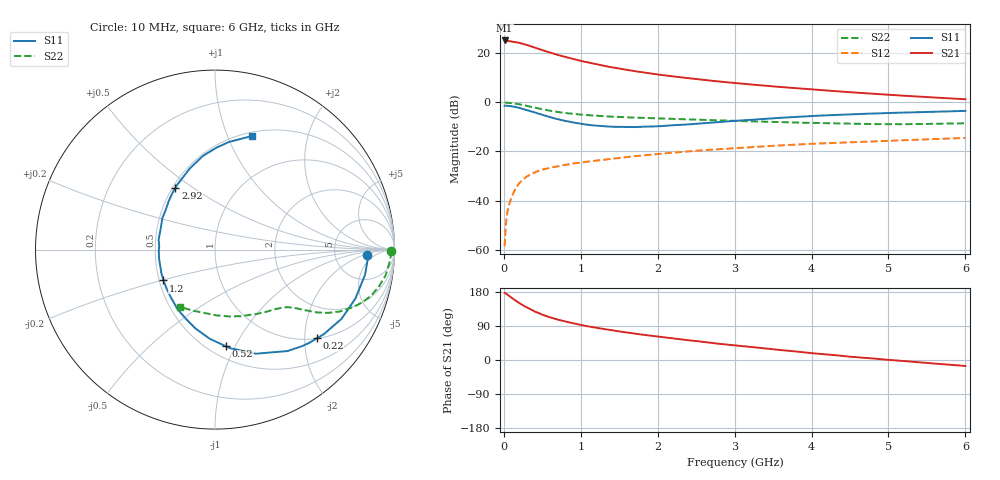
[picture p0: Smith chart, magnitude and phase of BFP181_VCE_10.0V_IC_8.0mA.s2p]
! Infineon Technologies  Discrete & RF Semiconductors
! BFP181
! VCE = 10.0V,  IC =  8.0 mA
! Common Emitter S-Parameters:  Jan 2016
# GHz  S  MA  R  50
!  f  S11  S21  S12  S22
! GHz  MAG  ANG  MAG  ANG  MAG  ANG  MAG  ANG
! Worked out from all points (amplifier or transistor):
!   210 points, 10 MHz to 6 GHz, reference 50 ohm
!   highest |S21| = 25.1 dB at 10 MHz (marker M1)
!   |S21| within 3 dB of that: start of sweep to 412.7 MHz
!   unconditionally stable (mu >= 1): 1.557 GHz to end of sweep
!   at 185 MHz: K = 0.21, MSG = 28.8 dB, |S12| = -33.5 dB
!   at 1.52 GHz: K = 0.99, MSG = 18.0 dB, |S12| = -22.5 dB
!   at 6 GHz: K = 1.05, MAG = 6.5 dB, |S12| = -14.5 dB
!   S11 on the Smith chart (normalised r, x): 10 MHz: 12, -2; 220 MHz: 1.00, -2.29; 520 MHz: 0.60, -0.92; 1.2 GHz: 0.53, -0.20; 2.92 GHz: 0.52, +0.43; 6 GHz: 0.54, +1.23
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0.01  0.8483 -2.0  17.89 177.1  0.0012 73.8  0.9797 -0.6
0.02  0.852 -3.7  17.85 176.4  0.0023 85.7  0.9817 -1.6
0.05  0.8481 -9.4  17.55 171.9  0.0064 87.4  0.9749 -4.4
0.1  0.8282 -19.3  17.09 164.6  0.0117 78.1  0.9607 -8.7
0.15  0.8036 -28.7  16.63 157.2  0.0174 73.2  0.9357 -12.8
0.2  0.7681 -37.8  16.03 150.4  0.0227 70.7  0.9072 -16.4
0.22  0.7523 -41.1  15.69 147.9  0.0244 68.8  0.8931 -17.7
0.3  0.6945 -54.5  14.53 138.6  0.0312 63.3  0.8386 -22.3
0.4  0.6231 -68.6  12.87 128.1  0.0376 57.9  0.7747 -26.5
0.52  0.5418 -83.6  11.14 118.3  0.0436 53.0  0.7086 -29.8
0.6  0.4971 -93.5  10.22 112.6  0.0467 51.4  0.6703 -31.5
0.7  0.4528 -103.9  9.089 106.6  0.05 49.7  0.6325 -32.9
0.8  0.4165 -113.4  8.278 101.3  0.0536 48.5  0.6032 -34.0
1.02  0.3608 -133.5  6.766 91.8  0.06 46.7  0.5571 -35.9
1.2  0.3346 -149.1  5.886 85.1  0.0653 45.7  0.5314 -37.4
1.5  0.3157 -170.4  4.819 75.3  0.0741 45.1  0.5009 -39.9
2.02  0.326 157.5  3.62 61.4  0.0896 42.8  0.4684 -45.6
2.92  0.4092 122.6  2.522 40.2  0.1148 37.4  0.4225 -58.4
3.1  0.4273 117.4  2.377 36.7  0.1197 36.1  0.4136 -61.3
4.1  0.5339 95.6  1.772 16.4  0.1453 28.6  0.3767 -80.2
5.1  0.61 81.4  1.383 -1.1  0.1667 21.6  0.3578 -101.6
6  0.6665 71.9  1.149 -15.8  0.1881 14.9  0.3735 -121.7
